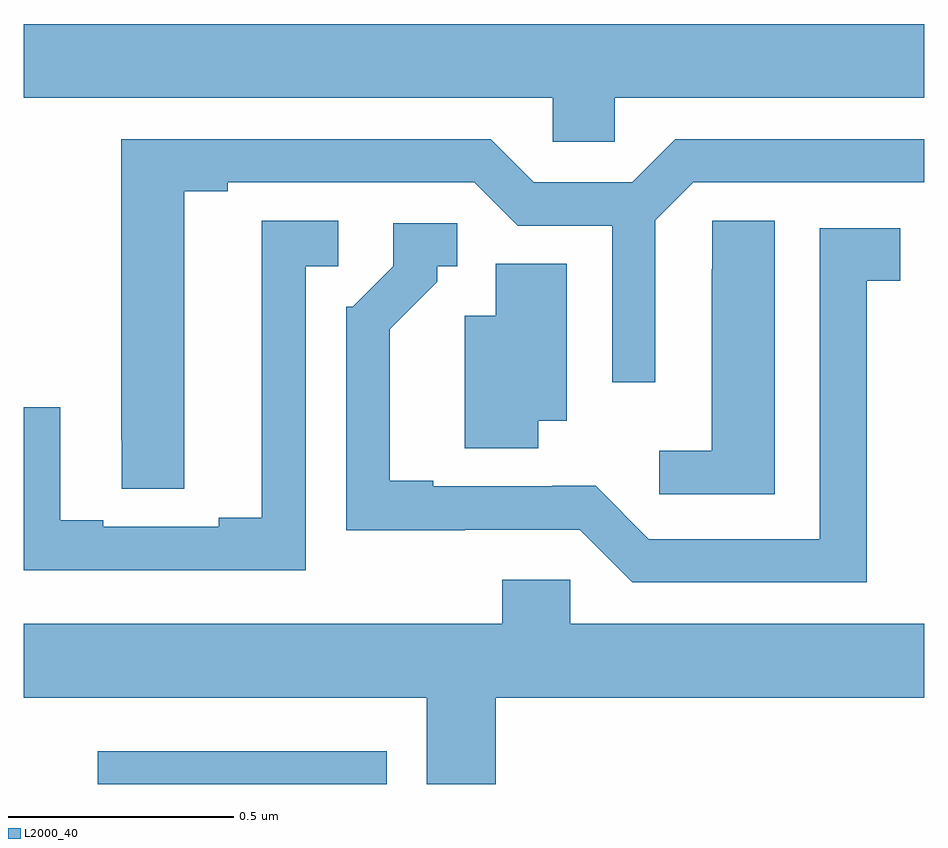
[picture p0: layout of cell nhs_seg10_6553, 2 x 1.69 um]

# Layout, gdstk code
import gdstk
lib = gdstk.Library(unit=1e-6, precision=1e-09)
def R(c, l, rs):  # rectangles x0, y0, x1, y1
    for r in rs: c.add(gdstk.rectangle(r[:2], r[2:], *l))
def P(c, l, *ps):  # polygons
    for p in ps: c.add(gdstk.Polygon(p, *l))
L2000_40 = (2000, 40)

nhs_seg10_6553 = lib.new_cell('nhs_seg10_6553')
R(nhs_seg10_6553, L2000_40, [(193.164,1257.5,193.806,1257.573)])
P(nhs_seg10_6553, L2000_40, [(194.313,1259.024),(195,1259.024),(195,1259.188),(193,1259.188),(193,1259.024),(194.175,1259.024),(194.175,1258.926),(194.313,1258.926)],
  [(193.357,1258.816),(193.453,1258.816),(193.453,1258.836),(194.001,1258.836),(194.097,1258.74),(194.307,1258.74),(194.307,1258.392),(194.403,1258.392),(194.403,1258.752),(194.487,1258.836),(195,1258.836),(195,1258.932),(194.447,1258.932),(194.351,1258.836),(194.133,1258.836),(194.037,1258.932),(193.217,1258.932),(193.217,1258.264),(193.218,1258.264),(193.218,1258.156),(193.357,1258.156)],
  [(193.626,1258.65),(193.699,1258.65),(193.699,1258.751),(193.529,1258.751),(193.529,1258.091),(193.433,1258.091),(193.433,1258.071),(193.177,1258.071),(193.177,1258.086),(193.081,1258.086),(193.081,1258.337),(193,1258.337),(193,1257.975),(193.626,1257.975)],
  [(194.668,1258.751),(194.529,1258.751),(194.529,1258.643),(194.528,1258.643),(194.528,1258.24),(194.412,1258.24),(194.412,1258.143),(194.668,1258.143)],
  [(194.872,1258.618),(194.947,1258.618),(194.947,1258.734),(194.768,1258.734),(194.768,1258.044),(194.388,1258.044),(194.27,1258.162),(194.174,1258.162),(194.174,1258.161),(193.909,1258.161),(193.909,1258.174),(193.813,1258.174),(193.813,1258.51),(193.918,1258.615),(193.918,1258.65),(193.963,1258.65),(193.963,1258.746),(193.821,1258.746),(193.821,1258.65),(193.731,1258.56),(193.716,1258.56),(193.716,1258.064),(193.979,1258.064),(193.979,1258.065),(194.235,1258.065),(194.352,1257.948),(194.872,1257.948)],
  [(194.143,1258.307),(194.206,1258.307),(194.206,1258.655),(194.048,1258.655),(194.048,1258.54),(193.979,1258.54),(193.979,1258.246),(194.143,1258.246)],
  [(194.048,1257.692),(195,1257.692),(195,1257.856),(194.214,1257.856),(194.214,1257.954),(194.063,1257.954),(194.063,1257.856),(193,1257.856),(193,1257.692),(193.895,1257.692),(193.895,1257.5),(194.048,1257.5)])

lib.write_gds('nhs_seg10_6553.gds')
